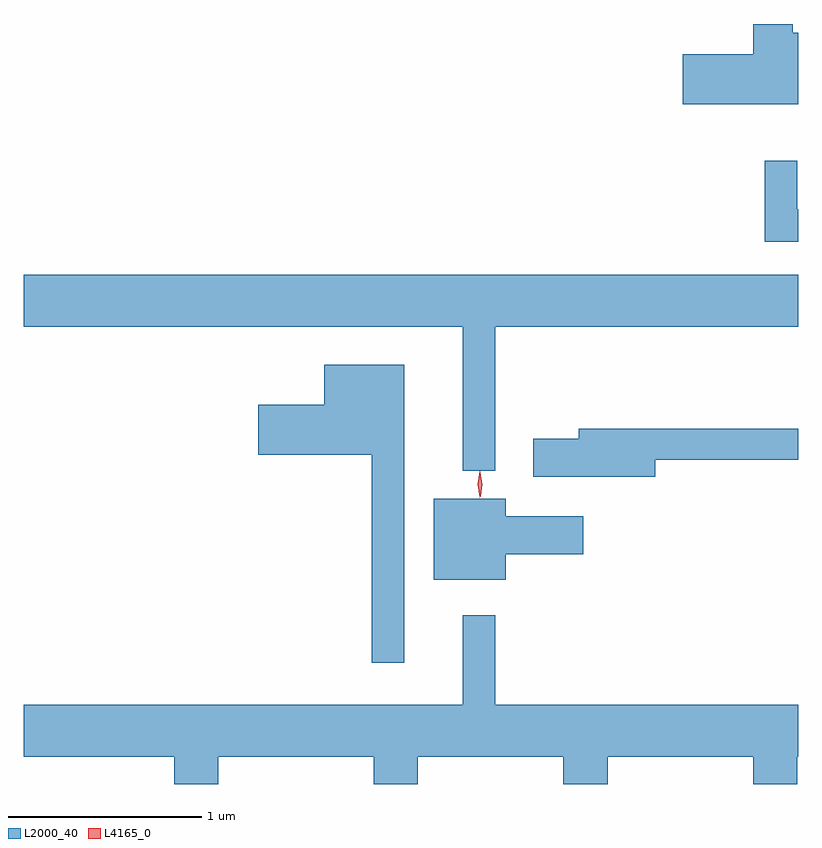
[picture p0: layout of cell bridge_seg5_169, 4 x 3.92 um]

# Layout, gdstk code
import gdstk
lib = gdstk.Library(unit=1e-6, precision=1e-09)
def P(c, l, *ps):  # polygons
    for p in ps: c.add(gdstk.Polygon(p, *l))
L2000_40 = (2000, 40)
L4165_0 = (4165, 0)

bridge_seg5_169 = lib.new_cell('bridge_seg5_169')
P(bridge_seg5_169, L2000_40, [(1230.064,1458.314),(1230.034,1458.314),(1230.034,1458.359),(1229.831,1458.359),(1229.831,1458.204),(1229.466,1458.204),(1229.466,1457.946),(1230.064,1457.946)],
  [(1230.064,1457.404),(1230.059,1457.404),(1230.059,1457.653),(1229.891,1457.653),(1229.891,1457.236),(1230.064,1457.236)],
  [(1228.499,1456.796),(1230.064,1456.796),(1230.064,1457.064),(1226.064,1457.064),(1226.064,1456.796),(1228.331,1456.796),(1228.331,1456.053),(1228.499,1456.053)],
  [(1228.029,1456.599),(1227.616,1456.599),(1227.616,1456.394),(1227.276,1456.394),(1227.276,1456.136),(1227.861,1456.136),(1227.861,1455.063),(1228.029,1455.063)],
  [(1229.324,1456.111),(1230.064,1456.111),(1230.064,1456.269),(1228.931,1456.269),(1228.931,1456.219),(1228.696,1456.219),(1228.696,1456.021),(1229.324,1456.021)],
  [(1228.554,1455.621),(1228.954,1455.621),(1228.954,1455.819),(1228.554,1455.819),(1228.554,1455.909),(1228.181,1455.909),(1228.181,1455.491),(1228.554,1455.491)],
  [(1227.069,1454.576),(1227.871,1454.576),(1227.871,1454.436),(1228.099,1454.436),(1228.099,1454.576),(1228.851,1454.576),(1228.851,1454.436),(1229.079,1454.436),(1229.079,1454.576),(1229.831,1454.576),(1229.831,1454.436),(1230.059,1454.436),(1230.059,1454.576),(1230.064,1454.576),(1230.064,1454.844),(1228.499,1454.844),(1228.499,1455.308),(1228.331,1455.308),(1228.331,1454.844),(1226.064,1454.844),(1226.064,1454.576),(1226.841,1454.576),(1226.841,1454.436),(1227.069,1454.436)])
P(bridge_seg5_169, L4165_0, [(1228.418,1455.914),(1228.418,1455.915),(1228.408,1455.982),(1228.418,1456.05),(1228.418,1456.05),(1228.419,1456.05),(1228.428,1455.982),(1228.419,1455.915)],
  [(1228.423,1455.92),(1228.422,1455.921),(1228.412,1455.984),(1228.421,1456.046),(1228.421,1456.047),(1228.422,1456.046),(1228.432,1455.984),(1228.424,1455.921)])

lib.write_gds('bridge_seg5_169.gds')
